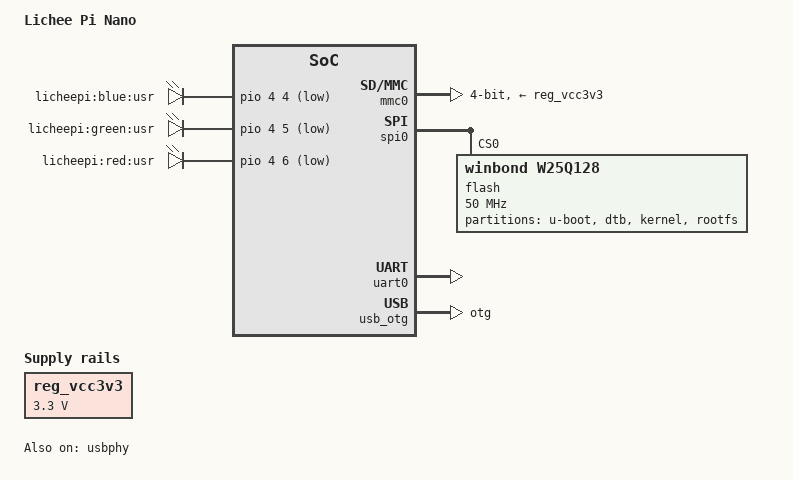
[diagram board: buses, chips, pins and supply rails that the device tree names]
// SPDX-License-Identifier: (GPL-2.0+ OR X11)
/*
 * Copyright 2018 Icenowy Zheng <icenowy@aosc.io>
 */

/dts-v1/;
#include "suniv-f1c100s.dtsi"

#include <dt-bindings/gpio/gpio.h>

/ {
	model = "Lichee Pi Nano";
	compatible = "licheepi,licheepi-nano", "allwinner,suniv-f1c100s",
		     "allwinner,suniv";

	aliases {
		serial0 = &uart0;
		spi0 = &spi0;
	};

	chosen {
		stdout-path = "serial0:115200n8";
	};

	reg_vcc3v3: vcc3v3 {
		compatible = "regulator-fixed";
		regulator-name = "vcc3v3";
		regulator-min-microvolt = <3300000>;
		regulator-max-microvolt = <3300000>;
	};

	leds {
		compatible = "gpio-leds";

		blue_led {
			label = "licheepi:blue:usr";
			gpios = <&pio 4 4 GPIO_ACTIVE_LOW>; /* PE4 */
		};

		green_led {
			label = "licheepi:green:usr";
			gpios = <&pio 4 5 GPIO_ACTIVE_LOW>; /* PE5 */
			default-state = "on";
		};

		red_led {
			label = "licheepi:red:usr";
			gpios = <&pio 4 6 GPIO_ACTIVE_LOW>; /* PE6 */
		};
	};

};

&soc {
        pwm: pwm@1c21000 {
                compatible = "allwinner,sun7i-a20-pwm";
                reg = <0x01c21000 0xC>;
                clocks = <&osc24M>;
                #pwm-cells = <3>;
                status = "disabled";
        };
};

&mmc0 {
	vmmc-supply = <&reg_vcc3v3>;
	bus-width = <4>;
	broken-cd;
	status = "okay";
};

&otg_sram {
	status = "okay";
};

&spi0 {
	pinctrl-names = "default";
	pinctrl-0 = <&spi0_pins_a>;
	status = "okay";
	flash: w25q128@0 {
		#address-cells = <1>;
		#size-cells = <1>;
		compatible = "winbond,w25q128", "jedec,spi-nor";
		reg = <0>;
		spi-max-frequency = <50000000>;
		partitions {
			compatible = "fixed-partitions";
			#address-cells = <1>;
			#size-cells = <1>;

			partition@0 {
				label = "u-boot";
				reg = <0x000000 0x40000>;
				read-only;
			};

			partition@40000 {
				label = "dtb";
				reg = <0x40000 0x10000>;
				read-only;
			};

			partition@50000 {
				label = "kernel";
				reg = <0x50000 0x3b0000>;
				read-only;
			};

			partition@400000 {
				label = "rootfs";
				reg = <0x400000 0xc00000>;
			};
		};
	};

};

&uart0 {
	pinctrl-names = "default";
	pinctrl-0 = <&uart0_pins_a>;
	status = "okay";
};

&usb_otg {
	dr_mode = "otg";
	status = "okay";
};

&usbphy {
	usb0_id_det-gpio = <&pio 4 2 GPIO_ACTIVE_HIGH>; /* PE2 */
	status = "okay";
};
